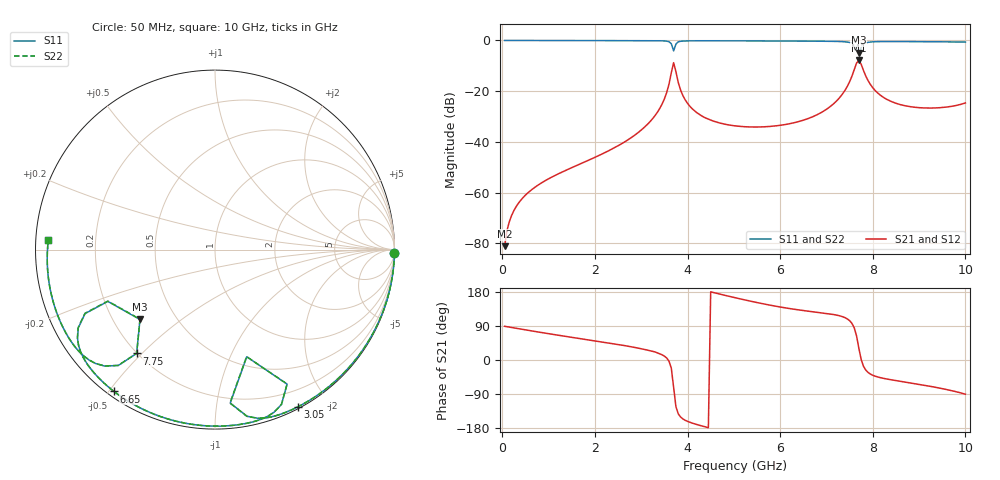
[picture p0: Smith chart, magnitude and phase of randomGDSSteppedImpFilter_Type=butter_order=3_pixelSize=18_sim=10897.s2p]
! freq	dB(S11)	phase(S11)	dB(S12)	phase(S12)
!  dB(S21)	phase(S21)	dB(S22)	phase(S22)
!S-par simulation data
#  GHz  S  DB  R 50
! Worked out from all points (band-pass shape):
!   200 points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, 50 MHz to 10 GHz, reference 50 ohm
!   highest |S21| = -7.84 dB at 7.7 GHz (marker M1); lowest = -81.1 dB at 50 MHz (marker M2)
!   |S21| within 3 dB of the highest: 3.673 GHz to 3.729 GHz (55.3 MHz wide, 1.49 % of centre); 7.613 GHz to 7.779 GHz (166.3 MHz wide, 2.16 % of centre)
!   lowest |S11| = -4.9 dB at 7.7 GHz (marker M3), VSWR 3.67, Z = 15.6 - j18 ohm
!   |S11| at or under -10 dB: nowhere
!   |S22| runs from -4.9 to 0.0 dB; largest |S21 - S12| = 0
!   S11 on the Smith chart (normalised r, x): 50 MHz: open; 3.05 GHz: 0.02, -1.66; 6.65 GHz: 0.02, -0.52; 7.75 GHz: 0.20, -0.48; 10 GHz: 0.04, +0.03
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0.05  -0.00 -1.0  -81.10 88.9  -81.10 88.9  -0.00 -1.0
0.2  -0.00 -4.2  -69.04 85.8  -69.04 85.8  -0.00 -4.2
0.5  -0.01 -10.4  -60.98 79.5  -60.98 79.5  -0.01 -10.4
1.75  -0.04 -35.9  -48.13 55.3  -48.13 55.3  -0.04 -35.9
3.05  -0.09 -62.1  -34.53 28.4  -34.53 28.4  -0.09 -62.1
3.4  -0.13 -70.3  -26.80 16.5  -26.80 16.5  -0.13 -70.3
3.6  -0.49 -79.1  -17.24 -3.1  -17.24 -3.1  -0.49 -79.2
3.7  -4.11 -73.5  -8.75 -72.8  -8.75 -72.8  -4.13 -73.5
3.75  -1.41 -61.8  -12.39 -123.5  -12.39 -123.5  -1.41 -61.8
3.9  -0.23 -72.2  -21.74 -155.5  -21.74 -155.5  -0.24 -72.2
4.1  -0.15 -78.0  -26.92 -166.5  -26.92 -166.5  -0.15 -78.0
5.05  -0.16 -96.6  -33.72 163.7  -33.72 163.7  -0.16 -96.7
6.65  -0.26 -125.5  -30.47 128.1  -30.47 128.1  -0.26 -125.5
6.7  -0.27 -126.4  -30.10 127.4  -30.10 127.4  -0.27 -126.5
7.25  -0.39 -138.1  -23.24 117.6  -23.24 117.6  -0.39 -138.2
7.55  -1.13 -150.2  -14.08 96.7  -14.08 96.7  -1.13 -150.3
7.7  -4.86 -137.0  -7.84 30.8  -7.84 30.8  -4.88 -137.1
7.75  -2.80 -127.0  -9.41 1.1  -9.41 1.1  -2.81 -127.1
8  -0.54 -140.5  -18.63 -40.3  -18.63 -40.3  -0.54 -140.6
8.35  -0.43 -149.8  -23.65 -51.2  -23.65 -51.2  -0.43 -149.9
9.1  -0.49 -164.8  -26.60 -66.3  -26.60 -66.3  -0.49 -165.0
10  -0.63 176.7  -24.64 -90.2  -24.64 -90.2  -0.63 176.6
